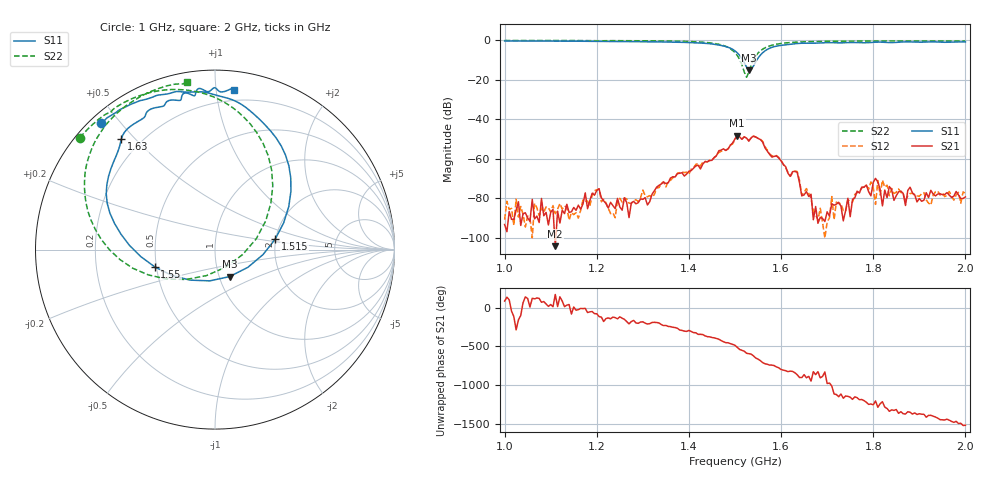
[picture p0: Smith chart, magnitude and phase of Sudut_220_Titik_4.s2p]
# Hz S RI R 50
! CMT, C1220, 16058040, 17.2.0/1
! Date: 14/08/2018 12:32:03
! Data: Format (Calibration Info)
! Freq  S11: Re/Im (F2)  S21: Re/Im (F2)  S12: Re/Im (F2)  S22: Re/Im (F2)
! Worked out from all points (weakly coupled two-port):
!   201 points, 1 GHz to 2 GHz, reference 50 ohm
!   highest |S21| = -48.36 dB at 1.505 GHz (marker M1); lowest = -104.3 dB at 1.11 GHz (marker M2)
!   lowest |S11| = -15.3 dB at 1.53 GHz (marker M3), VSWR 1.41, Z = 56.1 - j17.4 ohm
!   |S11| at or under -10 dB: 1.517 GHz to 1.548 GHz (31.14 MHz wide, 2.03 % of centre)
!   |S22| runs from -18.8 to -0.2 dB; largest |S21 - S12| = 0.00026
!   S11 on the Smith chart (normalised r, x): 1 GHz: 0.03, +0.45; 1.515 GHz: 1.98, +0.26; 1.55 GHz: 0.49, -0.11; 1.63 GHz: 0.13, +0.46; 2 GHz: 0.12, +1.12
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1e9  -0.6324 0.7077  1.99e-06 2.14e-05  -2.08e-05 1.94e-05  -0.7532 0.6238
1.11e9  -0.524 0.7828  -5.94e-06 1.2e-06  3.94e-05 8.03e-06  -0.6725 0.705
1.17e9  -0.4554 0.8149  6.83e-05 -1.55e-05  6.29e-05 -6.32e-05  -0.6174 0.7491
1.315e9  -0.2185 0.8802  -7.34e-05 3.58e-05  -0.000108 4.16e-05  -0.4397 0.8504
1.335e9  -0.191 0.8795  -0.0002 6.14e-05  -0.000166 7.94e-05  -0.402 0.8635
1.45e9  0.1955 0.773  0.000819 -0.000382  0.000813 -0.000445  0.0196 0.838
1.5e9  0.4229 0.3246  -0.00184 -0.00258  -0.00176 -0.00244  0.322 0.356
1.505e9  0.411 0.2394  -0.00335 -0.00183  -0.00317 -0.00184  0.3117 0.2606
1.515e9  0.3346 0.0572  -0.00304 0.000539  -0.00309 0.00046  0.23 0.0606
1.53e9  0.0817 -0.1503  -0.00167 0.0022  -0.00172 0.00225  -0.0479 -0.145
1.55e9  -0.3358 -0.0961  0.00179 0.0027  0.00173 0.00276  -0.4589 -0.1035
1.63e9  -0.5219 0.6163  -0.000228 -0.000412  -0.000233 -0.000422  -0.694 0.5431
1.645e9  -0.4889 0.6718  -0.000114 1.97e-06  -0.000117 -9.29e-06  -0.6695 0.6001
1.67e9  -0.4034 0.7293  -7.52e-06 -2.73e-05  7.39e-06 -4.62e-05  -0.6255 0.6714
1.785e9  -0.1903 0.8339  -0.000161 -0.000142  -0.00016 -0.000134  -0.4472 0.8338
1.795e9  -0.1865 0.8488  -0.000108 -3.67e-05  -0.000195 -0.000167  -0.4329 0.8422
1.805e9  -0.1793 0.8662  -0.000167 -0.000267  3.1e-06 -6.92e-05  -0.4192 0.8507
1.81e9  -0.1726 0.8712  -0.000234 0.000103  -0.000275 4.35e-05  -0.4125 0.8544
1.815e9  -0.1633 0.8729  -0.000155 -6.11e-05  1.53e-05 -0.000118  -0.4059 0.8581
1.82e9  -0.1521 0.8711  -4.26e-05 -4.69e-05  -0.000283 -4.34e-05  -0.3986 0.8613
1.835e9  -0.1204 0.8577  -4.97e-05 0.00019  -5.81e-05 9.84e-05  -0.3787 0.8713
2e9  0.1066 0.891  2.55e-05 -0.000104  -7.46e-06 -0.000133  -0.1557 0.9316
